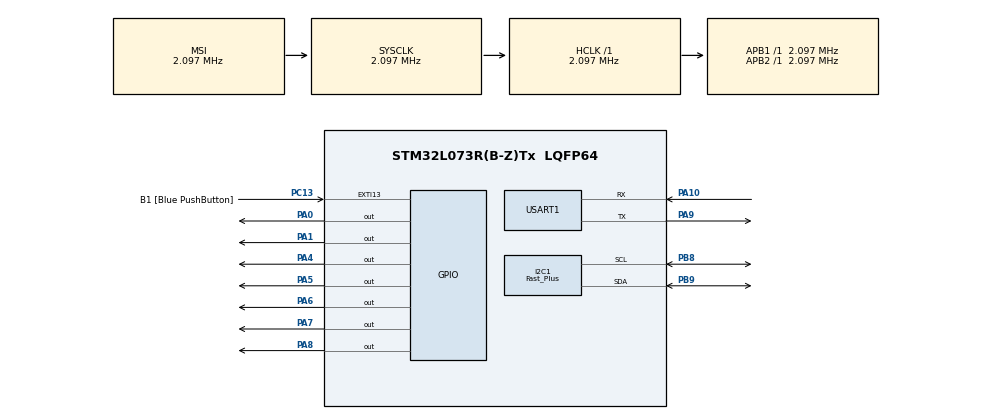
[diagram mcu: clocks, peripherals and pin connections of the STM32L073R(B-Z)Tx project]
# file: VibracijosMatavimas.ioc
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I2C1.I2C_Speed_Mode=I2C_Fast_Plus
I2C1.Timing=0x00000000
Mcu.Family=STM32L0
Mcu.Name=STM32L073R(B-Z)Tx
Mcu.Package=LQFP64
NVIC.I2C1_IRQn=true\:0\:0\:false\:false\:true\:true\:true\:true
NVIC.TIM6_DAC_IRQn=true\:0\:0\:false\:false\:true\:true\:true\:true
NVIC.USART1_IRQn=true\:0\:0\:false\:false\:true\:true\:true\:true
PA0.Signal=GPIO_Output
PA1.Signal=GPIO_Output
PA10.Mode=Asynchronous
PA10.Signal=USART1_RX
PA13.GPIO_Label=TMS
PA13.Mode=Serial_Wire
PA13.Signal=SYS_SWDIO
PA14.GPIO_Label=TCK
PA14.Mode=Serial_Wire
PA14.Signal=SYS_SWCLK
PA2.GPIO_Label=USART_TX
PA2.Signal=USART2_TX
PA3.GPIO_Label=USART_RX
PA3.Signal=USART2_RX
PA4.Signal=GPIO_Output
PA5.Signal=GPIO_Output
PA6.Signal=GPIO_Output
PA7.Signal=GPIO_Output
PA8.Signal=GPIO_Output
PA9.Mode=Asynchronous
PA9.Signal=USART1_TX
PB8.Mode=I2C
PB8.Signal=I2C1_SCL
PB9.Mode=I2C
PB9.Signal=I2C1_SDA
PC13.GPIO_Label=B1 [Blue PushButton]
PC13.GPIO_ModeDefaultEXTI=GPIO_MODE_IT_FALLING
PC13.Signal=GPXTI13
PC14-OSC32_IN.Mode=LSE-External-Oscillator
PC14-OSC32_IN.Signal=RCC_OSC32_IN
PC15-OSC32_OUT.Mode=LSE-External-Oscillator
PC15-OSC32_OUT.Signal=RCC_OSC32_OUT
PH0-OSC_IN.GPIO_Label=MCO
PH0-OSC_IN.Mode=HSE-External-Clock-Source
PH0-OSC_IN.Signal=RCC_OSC_IN
ProjectManager.HeapSize=0x200
ProjectManager.StackSize=0x400
ProjectManager.TargetToolchain=MDK-ARM V5.27
RCC.AHBFreq_Value=2097000
RCC.APB1Freq_Value=2097000
RCC.APB1TimFreq_Value=2097000
RCC.APB2Freq_Value=2097000
RCC.APB2TimFreq_Value=2097000
RCC.HSE_VALUE=8000000
RCC.HSI16_VALUE=16000000
RCC.HSI48_VALUE=48000000
RCC.HSI_VALUE=16000000
RCC.MSI_VALUE=2097000
RCC.SYSCLKFreq_VALUE=2097000
RCC.VCOOutputFreq_Value=48000000
TIM6.AutoReloadPreload=TIM_AUTORELOAD_PRELOAD_ENABLE
TIM6.Period=105
TIM6.Prescaler=2000
USART1.VirtualMode-Asynchronous=VM_ASYNC
VP_TIM6_VS_ClockSourceINT.Mode=Enable_Timer
board=NUCLEO-L073RZ

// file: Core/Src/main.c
/* USER CODE BEGIN Header */
/**
  ******************************************************************************
  * @file           : main.c
  * @brief          : Main program body
  ******************************************************************************
  * @attention
  *
  * Copyright (c) 2025 STMicroelectronics.
  * All rights reserved.
  *
  * This software is licensed under terms that can be found in the LICENSE file
  * in the root directory of this software component.
  * If no LICENSE file comes with this software, it is provided AS-IS.
  *
  ******************************************************************************
  */
/* USER CODE END Header */
#include "main.h"

/* USER CODE BEGIN Includes */
#include "lcd.h"
#include <stdio.h>
#include "string.h"
#include "Statechart.h"
#include "Statechart_required.h"
#include <math.h>

/* USER CODE END Includes */

I2C_HandleTypeDef hi2c1;

TIM_HandleTypeDef htim6;

UART_HandleTypeDef huart1;

void SystemClock_Config(void);
static void MX_GPIO_Init(void);
static void MX_USART1_UART_Init(void);
static void MX_I2C1_Init(void);
static void MX_TIM6_Init(void);

/* USER CODE BEGIN 0 */
uint8_t TxBuffer[120];
uint8_t RxBuffer[1];

#define MPU_ADDR 0x68 << 1  // I2C address of the MPU-6050

int16_t AcX, AcY, AcZ;            // Accelerometer values
long Cal_AcX, Cal_AcY, Cal_AcZ;   // Calibration values
float GAcX, GAcY, GAcZ;           // Gravity values
float Min_GAcX = 0, Max_GAcX = 0, PtoP_GAcX;
float Min_GAcY = 0, Max_GAcY = 0, PtoP_GAcY;
float Min_GAcZ = 0, Max_GAcZ = 0, PtoP_GAcZ;
float Grvt_unit;  // Gravity value unit
long prev_time;   // Period of calculation
int16_t AccelX;
int16_t AccelY;
int16_t AccelZ;
Statechart handle;
int sample_no = 0;

float sumSq_GAcX = 0;
float sumSq_GAcY = 0;
float sumSq_GAcZ = 0;

float RMS_GAcX;
float RMS_GAcY;
float RMS_GAcZ;

float RMS_GAcX_LCD;
float RMS_GAcY_LCD;
float RMS_GAcZ_LCD;

uint8_t current_range; // Reikės perskaityti iš saugyklos
uint8_t range_cmd;

void HAL_TIM_PeriodElapsedCallback(TIM_HandleTypeDef *htim)
{
  statechart_raise_timer(&handle); //raise event TimerIntr in statechart
	statechart_send_Uart(&handle);
	statechart_display_Grvt(&handle);
//Enable key interrupts handling again

}

void LCD_Write4Bits(uint8_t data)
{
    HAL_GPIO_WritePin(D4_PORT, D4_PIN, (data & 0x01) ? GPIO_PIN_SET : GPIO_PIN_RESET);
    HAL_GPIO_WritePin(D5_PORT, D5_PIN, (data & 0x02) ? GPIO_PIN_SET : GPIO_PIN_RESET);
    HAL_GPIO_WritePin(D6_PORT, D6_PIN, (data & 0x04) ? GPIO_PIN_SET : GPIO_PIN_RESET);
    HAL_GPIO_WritePin(D7_PORT, D7_PIN, (data & 0x08) ? GPIO_PIN_SET : GPIO_PIN_RESET);
    HAL_GPIO_WritePin(EN_PORT, EN_PIN, GPIO_PIN_SET);
    HAL_Delay(1);
    HAL_GPIO_WritePin(EN_PORT, EN_PIN, GPIO_PIN_RESET);
    HAL_Delay(1);
}

void LCD_SendCommand(uint8_t cmd)
{
    HAL_GPIO_WritePin(RS_PORT, RS_PIN, GPIO_PIN_RESET); // RS = 0 (komanda)
    HAL_GPIO_WritePin(RW_PORT, RW_PIN, GPIO_PIN_RESET);  // R/W = 0 (rasymas)

    LCD_Write4Bits(cmd >> 4);  // Aukstesni 4 bitai
    LCD_Write4Bits(cmd & 0x0F); // zemesni 4 bitai
    if (cmd < 4) HAL_Delay(2);  // Jei komanda buvo "Clear" ar "Home"
}

void LCD_SendData(uint8_t data)
{
    HAL_GPIO_WritePin(RS_PORT, RS_PIN, GPIO_PIN_SET);  // RS = 1 (duomenys)
    HAL_GPIO_WritePin(RW_PORT, RW_PIN, GPIO_PIN_RESET); // R/W = 0 (rasymas)

    LCD_Write4Bits(data >> 4);  // Aukstesni 4 bitai
    LCD_Write4Bits(data & 0x0F); // zemesni 4 bitai
    HAL_Delay(1);
}

void statechart_lCD_Init(Statechart* handle){
	HAL_Delay(50);
    HAL_GPIO_WritePin(RW_PORT, RW_PIN, GPIO_PIN_RESET);
    HAL_GPIO_WritePin(RS_PORT, RS_PIN, GPIO_PIN_RESET);
    LCD_Write4Bits(0x03);
    HAL_Delay(5);
    LCD_Write4Bits(0x03);
    HAL_Delay(5);
    LCD_Write4Bits(0x03);
    HAL_Delay(1);
    LCD_Write4Bits(0x02);  // 4-bitu rezimas
    HAL_Delay(1);
    LCD_SendCommand(0x28);  // 4-bitu rezimas, 2 eilutes, 5x8 simboliai
    LCD_SendCommand(0x0C);  // Ijungti ekrana, isjungti kursoriu
    LCD_SendCommand(0x06);  // Inkrementuoti kursoriu
    LCD_SendCommand(0x01);  // Isvalyti ekrana
    HAL_Delay(2);

}
void LCD_Clear(void)
{
    LCD_SendCommand(0x01); // Isvalyti ekrana
    HAL_Delay(2);
}

void LCD_SetCursor(uint8_t row, uint8_t col)
{
    uint8_t row_offsets[] = {0x00, 0x40};
    LCD_SendCommand(0x80 | (col + row_offsets[row]));
}

void LCD_SendString(char *str)
{
    while (*str) LCD_SendData(*str++);
}

void statechart_mPU6050_Init(Statechart* handle) {
    uint8_t data;

    // Clock Source
    data = 0x03;
    HAL_I2C_Mem_Write(&hi2c1, MPU_ADDR, 0x6B, 1, &data, 1, HAL_MAX_DELAY);

    // Akselerometro diapazonas +/- 2g
    data = 0x00;
    HAL_I2C_Mem_Write(&hi2c1, MPU_ADDR, 0x1C, 1, &data, 1, HAL_MAX_DELAY);

    // Set Digital Low Pass Filter to 260Hz
    data = 0x00;
    HAL_I2C_Mem_Write(&hi2c1, MPU_ADDR, 0x1A, 1, &data, 1, HAL_MAX_DELAY);
}

void statechart_gravity_Range(Statechart* handle) {

}

void statechart_mPU6050_Read_Accel(Statechart* handle) {
    uint8_t data[6];
    HAL_I2C_Mem_Read(&hi2c1, MPU_ADDR, 0x3B, 1, data, 6, HAL_MAX_DELAY);

    AcX = (int16_t)(data[0] << 8 | data[1]);
    AcY = (int16_t)(data[2] << 8 | data[3]);
    AcZ = (int16_t)(data[4] << 8 | data[5]);
}

void statechart_mPU6050_Calibrate(Statechart* handle) {
    int32_t sumX = 0, sumY = 0, sumZ = 0;

    for (int i = 0; i < 2000; i++) {
        statechart_mPU6050_Read_Accel(handle);
        sumX += AcX;
        sumY += AcY;
        sumZ += AcZ;
        HAL_Delay(1);
    }

    Cal_AcX = sumX / 2000;
    Cal_AcY = sumY / 2000;
    Cal_AcZ = sumZ / 2000;
}

void statechart_calculate_Gravity(Statechart* handle) {
    // Iš akselerometro nuskaitytų verčių korekcija atimant kalibracijos metu gautus poslinkius
    int16_t adjX = AcX - Cal_AcX;
    int16_t adjY = AcY - Cal_AcY;
    int16_t adjZ = AcZ - Cal_AcZ;

    // Koreguotos vertės paverčiamos į gravitacijos vienetus (g)
    GAcX = (float)adjX / Grvt_unit;
    GAcY = (float)adjY / Grvt_unit;
    GAcZ = (float)adjZ / Grvt_unit;

    // X ašies min ir max reikšmių fiksavimas, naudojamas (peak-to-peak) skaičiavimui
    if (GAcX < Min_GAcX) Min_GAcX = GAcX;
    if (GAcX > Max_GAcX) Max_GAcX = GAcX;
    PtoP_GAcX = Max_GAcX - Min_GAcX;

    // Y ašies min ir max reikšmių fiksavimas
    if (GAcY < Min_GAcY) Min_GAcY = GAcY;
    if (GAcY > Max_GAcY) Max_GAcY = GAcY;
    PtoP_GAcY = Max_GAcY - Min_GAcY;

    // Z ašies min ir max reikšmių fiksavimas
    if (GAcZ < Min_GAcZ) Min_GAcZ = GAcZ;
    if (GAcZ > Max_GAcZ) Max_GAcZ = GAcZ;
    PtoP_GAcZ = Max_GAcZ - Min_GAcZ;
}

void statechart_display_Grvt(Statechart* handle) {

        // Kaupti kvadratines reiksmes
        sumSq_GAcX += GAcX * GAcX;
        sumSq_GAcY += GAcY * GAcY;
        sumSq_GAcZ += GAcZ * GAcZ;

			  RMS_GAcX_LCD = sqrtf(sumSq_GAcX / sample_no);
        RMS_GAcY_LCD = sqrtf(sumSq_GAcY / sample_no);
        RMS_GAcZ_LCD = sqrtf(sumSq_GAcZ / sample_no);
        sample_no++;

    }

void statechart_display_LCD(Statechart* handle){
  char buf[40];

  LCD_Clear();

  // Rodyti diapazoną pirmoje eilutėje per vidurį
  LCD_SetCursor(0, (16 - 10) / 2); // Centravimas (16 simbolių eilutė, "Range: Xg" yra 10)
  sprintf(buf, "        %dg", (current_range == 0 ? 2 : (current_range == 1 ? 4 : (current_range == 2 ? 8 : 16))));
  LCD_SendString(buf);

  LCD_SetCursor(1, 0);
  sprintf(buf, "Ay=%-6.2f", RMS_GAcY_LCD);
  LCD_SendString(buf);

  LCD_SetCursor(2, 0);
  sprintf(buf, "Az=%-6.2f", RMS_GAcZ_LCD);
  LCD_SendString(buf);

  LCD_SetCursor(0, 0); // Atstatyti kursorių Ax rodymui
  sprintf(buf, "Ax=%-6.2f", RMS_GAcX_LCD);
  LCD_SendString(buf);
}

void statechart_send_Uart(Statechart* handle) {

    char uart_buffer[100];
    sprintf(uart_buffer, "X: %.2f, Y: %.2f, Z: %.2f\r\n", RMS_GAcX, RMS_GAcY, RMS_GAcZ);

    HAL_UART_Transmit(&huart1, (uint8_t *)uart_buffer, strlen(uart_buffer), HAL_MAX_DELAY);
}

void statechart_rMS(Statechart* handle){

    RMS_GAcX = fabsf(GAcX); // nes viena imtis, tai tiesiog modulis

    RMS_GAcY = fabsf(GAcY);

    RMS_GAcZ = fabsf(GAcZ);
}

void HAL_UART_RxCpltCallback(UART_HandleTypeDef *huart) {
    if (huart->Instance == USART1) {
        if (RxBuffer[0] >= '0' && RxBuffer[0] <= '3') {
            range_cmd = RxBuffer[0] - '0';  // Atnaujinam globalų range_cmd
            statechart_raise_send(&handle); // Tada iškeliame įvykį
					  statechart_set_accel_range(&handle);
        }

        // Vėl paleidžiam priėmimą
        HAL_UART_Receive_IT(&huart1, RxBuffer, 1);
    }
}

void statechart_set_accel_range(Statechart* handle) {
    uint8_t data;

    current_range = range_cmd; // Atnaujiname dabartinį režimą

    switch (range_cmd) {
        case 0: // 2g
            data = 0x00;
            Grvt_unit = 16384.0;
            break;
        case 1: // 4g
            data = 0x08;
            Grvt_unit = 8192.0;
            break;
        case 2: // 8g
            data = 0x10;
            Grvt_unit = 4096.0;
            break;
        case 3: // 16g
            data = 0x18;
            Grvt_unit = 2048.0;
            break;
        default:
            data = 0x00;
            Grvt_unit = 16384.0;
            current_range = 0;
            break;
    }

    HAL_I2C_Mem_Write(&hi2c1, MPU_ADDR, 0x1C, 1, &data, 1, HAL_MAX_DELAY);

    // Gali būti papildomų veiksmų, jei reikia, pvz. LCD atnaujinimas
    if (sample_no >= 30) {
        statechart_display_LCD(handle);

    }
}

/* USER CODE END 0 */

int main(void)
{

  /* MCU Configuration--------------------------------------------------------*/

  /* Reset of all peripherals, Initializes the Flash interface and the Systick. */
  HAL_Init();

  /* Configure the system clock */
  SystemClock_Config();

  /* Initialize all configured peripherals */
  MX_GPIO_Init();
  MX_USART1_UART_Init();
  MX_I2C1_Init();
  MX_TIM6_Init();
  /* USER CODE BEGIN 2 */
   HAL_TIM_Base_Start_IT(&htim6);

/* MCU Configuration */

    /* Welcome message */
    LCD_Clear();
    LCD_SetCursor(0, 0);
    LCD_SendString("MPU6050 Accel");
    LCD_SetCursor(1, 0);
    LCD_SendString("Starting...");
    HAL_Delay(2000);

		HAL_UART_Receive_IT(&huart1, RxBuffer, 1); // Pradėti UART priėmimą

	  statechart_set_accel_range(&handle);

    statechart_lCD_Init(&handle);               // LCD startas

    statechart_mPU6050_Init(&handle);           // MPU startas

    statechart_mPU6050_Calibrate(&handle);      // kalibracija

  /* USER CODE END 2 */

  /* Infinite loop */
  while (1) {

    /* USER CODE BEGIN 3 */
		statechart_mPU6050_Read_Accel(&handle);
    statechart_calculate_Gravity(&handle);
    statechart_rMS(&handle);

		if (sample_no >= 30) {
        statechart_display_LCD(&handle); // Atvaizduojame LCD
        sumSq_GAcX = 0;
        sumSq_GAcY = 0;
        sumSq_GAcZ = 0;
        sample_no = 0;
      }

	}

  /* USER CODE END 3 */
}

void SystemClock_Config(void)
{
  RCC_OscInitTypeDef RCC_OscInitStruct = {0};
  RCC_ClkInitTypeDef RCC_ClkInitStruct = {0};
  RCC_PeriphCLKInitTypeDef PeriphClkInit = {0};

  /** Configure the main internal regulator output voltage
  */
  __HAL_PWR_VOLTAGESCALING_CONFIG(PWR_REGULATOR_VOLTAGE_SCALE1);

  /** Initializes the RCC Oscillators according to the specified parameters
  * in the RCC_OscInitTypeDef structure.
  */
  RCC_OscInitStruct.OscillatorType = RCC_OSCILLATORTYPE_MSI;
  RCC_OscInitStruct.MSIState = RCC_MSI_ON;
  RCC_OscInitStruct.MSICalibrationValue = 0;
  RCC_OscInitStruct.MSIClockRange = RCC_MSIRANGE_5;
  RCC_OscInitStruct.PLL.PLLState = RCC_PLL_NONE;
  if (HAL_RCC_OscConfig(&RCC_OscInitStruct) != HAL_OK)
  {
    Error_Handler();
  }

  /** Initializes the CPU, AHB and APB buses clocks
  */
  RCC_ClkInitStruct.ClockType = RCC_CLOCKTYPE_HCLK|RCC_CLOCKTYPE_SYSCLK
                              |RCC_CLOCKTYPE_PCLK1|RCC_CLOCKTYPE_PCLK2;
  RCC_ClkInitStruct.SYSCLKSource = RCC_SYSCLKSOURCE_MSI;
  RCC_ClkInitStruct.AHBCLKDivider = RCC_SYSCLK_DIV1;
  RCC_ClkInitStruct.APB1CLKDivider = RCC_HCLK_DIV1;
  RCC_ClkInitStruct.APB2CLKDivider = RCC_HCLK_DIV1;

  if (HAL_RCC_ClockConfig(&RCC_ClkInitStruct, FLASH_LATENCY_0) != HAL_OK)
  {
    Error_Handler();
  }
  PeriphClkInit.PeriphClockSelection = RCC_PERIPHCLK_USART1|RCC_PERIPHCLK_I2C1;
  PeriphClkInit.Usart1ClockSelection = RCC_USART1CLKSOURCE_PCLK2;
  PeriphClkInit.I2c1ClockSelection = RCC_I2C1CLKSOURCE_PCLK1;
  if (HAL_RCCEx_PeriphCLKConfig(&PeriphClkInit) != HAL_OK)
  {
    Error_Handler();
  }
}

static void MX_I2C1_Init(void)
{

  hi2c1.Instance = I2C1;
  hi2c1.Init.Timing = 0x00000000;
  hi2c1.Init.OwnAddress1 = 0;
  hi2c1.Init.AddressingMode = I2C_ADDRESSINGMODE_7BIT;
  hi2c1.Init.DualAddressMode = I2C_DUALADDRESS_DISABLE;
  hi2c1.Init.OwnAddress2 = 0;
  hi2c1.Init.OwnAddress2Masks = I2C_OA2_NOMASK;
  hi2c1.Init.GeneralCallMode = I2C_GENERALCALL_DISABLE;
  hi2c1.Init.NoStretchMode = I2C_NOSTRETCH_DISABLE;
  if (HAL_I2C_Init(&hi2c1) != HAL_OK)
  {
    Error_Handler();
  }

  /** Configure Analogue filter
  */
  if (HAL_I2CEx_ConfigAnalogFilter(&hi2c1, I2C_ANALOGFILTER_ENABLE) != HAL_OK)
  {
    Error_Handler();
  }

  /** Configure Digital filter
  */
  if (HAL_I2CEx_ConfigDigitalFilter(&hi2c1, 0) != HAL_OK)
  {
    Error_Handler();
  }

  /** I2C Fast mode Plus enable
  */
  HAL_I2CEx_EnableFastModePlus(I2C_FASTMODEPLUS_I2C1);

}

static void MX_TIM6_Init(void)
{

  TIM_MasterConfigTypeDef sMasterConfig = {0};

  htim6.Instance = TIM6;
  htim6.Init.Prescaler = 2000;
  htim6.Init.CounterMode = TIM_COUNTERMODE_UP;
  htim6.Init.Period = 105;
  htim6.Init.AutoReloadPreload = TIM_AUTORELOAD_PRELOAD_ENABLE;
  if (HAL_TIM_Base_Init(&htim6) != HAL_OK)
  {
    Error_Handler();
  }
  sMasterConfig.MasterOutputTrigger = TIM_TRGO_RESET;
  sMasterConfig.MasterSlaveMode = TIM_MASTERSLAVEMODE_DISABLE;
  if (HAL_TIMEx_MasterConfigSynchronization(&htim6, &sMasterConfig) != HAL_OK)
  {
    Error_Handler();
  }

}

static void MX_USART1_UART_Init(void)
{

  huart1.Instance = USART1;
  huart1.Init.BaudRate = 115200;
  huart1.Init.WordLength = UART_WORDLENGTH_8B;
  huart1.Init.StopBits = UART_STOPBITS_1;
  huart1.Init.Parity = UART_PARITY_NONE;
  huart1.Init.Mode = UART_MODE_TX_RX;
  huart1.Init.HwFlowCtl = UART_HWCONTROL_NONE;
  huart1.Init.OverSampling = UART_OVERSAMPLING_16;
  huart1.Init.OneBitSampling = UART_ONE_BIT_SAMPLE_DISABLE;
  huart1.AdvancedInit.AdvFeatureInit = UART_ADVFEATURE_NO_INIT;
  if (HAL_UART_Init(&huart1) != HAL_OK)
  {
    Error_Handler();
  }

}

static void MX_GPIO_Init(void)
{
  GPIO_InitTypeDef GPIO_InitStruct = {0};

  /* GPIO Ports Clock Enable */
  __HAL_RCC_GPIOC_CLK_ENABLE();
  __HAL_RCC_GPIOH_CLK_ENABLE();
  __HAL_RCC_GPIOA_CLK_ENABLE();
  __HAL_RCC_GPIOB_CLK_ENABLE();

  /*Configure GPIO pin Output Level */
  HAL_GPIO_WritePin(GPIOA, GPIO_PIN_0|GPIO_PIN_1|GPIO_PIN_4|GPIO_PIN_5
                          |GPIO_PIN_6|GPIO_PIN_7|GPIO_PIN_8, GPIO_PIN_RESET);

  /*Configure GPIO pin : B1_Pin */
  GPIO_InitStruct.Pin = B1_Pin;
  GPIO_InitStruct.Mode = GPIO_MODE_IT_FALLING;
  GPIO_InitStruct.Pull = GPIO_NOPULL;
  HAL_GPIO_Init(B1_GPIO_Port, &GPIO_InitStruct);

  /*Configure GPIO pins : PA0 PA1 PA4 PA5
                           PA6 PA7 PA8 */
  GPIO_InitStruct.Pin = GPIO_PIN_0|GPIO_PIN_1|GPIO_PIN_4|GPIO_PIN_5
                          |GPIO_PIN_6|GPIO_PIN_7|GPIO_PIN_8;
  GPIO_InitStruct.Mode = GPIO_MODE_OUTPUT_PP;
  GPIO_InitStruct.Pull = GPIO_NOPULL;
  GPIO_InitStruct.Speed = GPIO_SPEED_FREQ_LOW;
  HAL_GPIO_Init(GPIOA, &GPIO_InitStruct);

  /*Configure GPIO pins : USART_TX_Pin USART_RX_Pin */
  GPIO_InitStruct.Pin = USART_TX_Pin|USART_RX_Pin;
  GPIO_InitStruct.Mode = GPIO_MODE_AF_PP;
  GPIO_InitStruct.Pull = GPIO_NOPULL;
  GPIO_InitStruct.Speed = GPIO_SPEED_FREQ_VERY_HIGH;
  GPIO_InitStruct.Alternate = GPIO_AF4_USART2;
  HAL_GPIO_Init(GPIOA, &GPIO_InitStruct);

}

void Error_Handler(void)
{
  __disable_irq();
  while (1)
  {
  }
}
